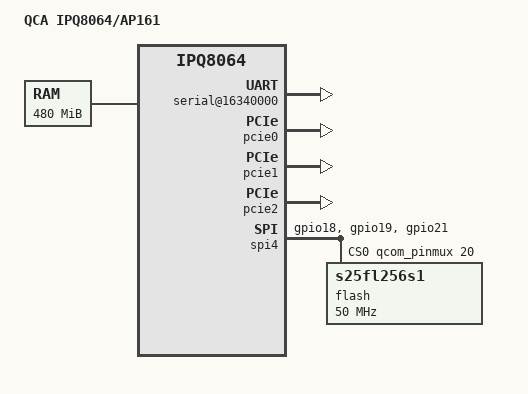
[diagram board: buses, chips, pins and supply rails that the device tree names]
/* Copyright (c) 2017 The Linux Foundation. All rights reserved.
 *
 * Permission to use, copy, modify, and/or distribute this software for any
 * purpose with or without fee is hereby granted, provided that the above
 * copyright notice and this permission notice appear in all copies.
 *
 * THE SOFTWARE IS PROVIDED "AS IS" AND THE AUTHOR DISCLAIMS ALL WARRANTIES
 * WITH REGARD TO THIS SOFTWARE INCLUDING ALL IMPLIED WARRANTIES OF
 * MERCHANTABILITY AND FITNESS. IN NO EVENT SHALL THE AUTHOR BE LIABLE FOR
 * ANY SPECIAL, DIRECT, INDIRECT, OR CONSEQUENTIAL DAMAGES OR ANY DAMAGES
 * WHATSOEVER RESULTING FROM LOSS OF USE, DATA OR PROFITS, WHETHER IN AN
 * ACTION OF CONTRACT, NEGLIGENCE OR OTHER TORTIOUS ACTION, ARISING OUT OF
 * OR IN CONNECTION WITH THE USE OR PERFORMANCE OF THIS SOFTWARE.
 *
 */

#include "qcom-ipq8064-v1.0.dtsi"

/ {
	model = "QCA IPQ8064/AP161";
	compatible = "qcom,ipq8064-ap161", "qcom,ipq8064";

	aliases {
		serial0 = &gsbi4_serial;
	};

	chosen {
		stdout-path = "serial0:115200n8";
	};

	memory@0 {
		reg = <0x42000000 0x1e000000>;
		device_type = "memory";
	};

	soc {
		pinmux@800000 {
			spi_pins: spi_pins {
				mux {
					pins = "gpio18", "gpio19", "gpio21";
					function = "gsbi5";
					drive-strength = <10>;
					bias-none;
				};
			};
		};

		gsbi@16300000 {
			qcom,mode = <GSBI_PROT_I2C_UART>;
			status = "ok";
			serial@16340000 {
				status = "ok";
			};
		};

		pcie0: pci@1b500000 {
			status = "ok";
		};

		pcie1: pci@1b700000 {
			status = "ok";
		};

		pcie2: pci@1b900000 {
			status = "ok";
		};

		gsbi5: gsbi@1a200000 {
			qcom,mode = <GSBI_PROT_SPI>;
			status = "ok";

			spi4: spi@1a280000 {
				status = "ok";
				spi-max-frequency = <50000000>;

				pinctrl-0 = <&spi_pins>;
				pinctrl-names = "default";

				cs-gpios = <&qcom_pinmux 20 0>;
				dmas = <&adm_dma 6>, <&adm_dma 5>;
				dma-names = "rx", "tx";
				qcom,rx-crci = <9>;
				qcom,tx-crci = <10>;

				flash: m25p80@0 {
					compatible = "s25fl256s1";
					#address-cells = <1>;
					#size-cells = <1>;
					spi-max-frequency = <50000000>;
					reg = <0>;

					m25p,fast-read;
				};
			};
		};
	};
};

&adm_dma {
	status = "ok";
};
